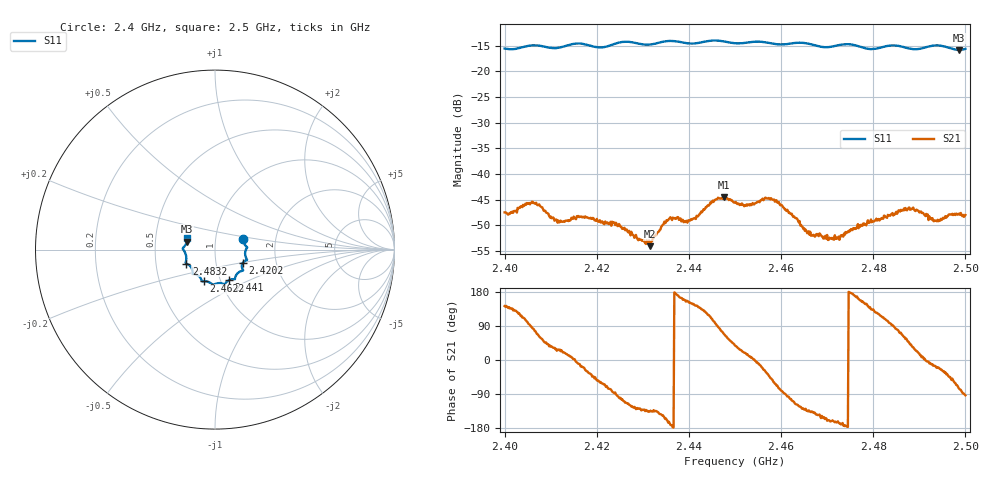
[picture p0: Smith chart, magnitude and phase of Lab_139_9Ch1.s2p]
# Hz S RI R
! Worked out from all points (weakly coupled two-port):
!   601 points, 2.4 GHz to 2.5 GHz, reference 50 ohm
!   highest |S21| = -44.56 dB at 2.4477 GHz (marker M1); lowest = -54.1 dB at 2.4315 GHz (marker M2)
!   lowest |S11| = -15.8 dB at 2.4987 GHz (marker M3), VSWR 1.39, Z = 36.4 + j3.36 ohm
!   |S11| at or under -10 dB: start of sweep to end of sweep
!   S12 and S22 are empty: the file has one direction only
!   S11 on the Smith chart (normalised r, x): 2.4 GHz: 1.36, +0.17; 2.4202 GHz: 1.35, -0.20; 2.441 GHz: 1.09, -0.39; 2.4622 GHz: 0.83, -0.30; 2.4832 GHz: 0.72, -0.12; 2.5 GHz: 0.73, +0.09
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2.4e9  0.1562 0.0599  -0.00334 0.00258  0 0  0 0
2.406333e9  0.1795 0.0131  0.000787 0.00517  0 0  0 0
2.411333e9  0.1677 -0.023  0.00325 0.00148  0 0  0 0
2.416667e9  0.1773 -0.0583  0.00369 -0.00106  0 0  0 0
2.420167e9  0.1558 -0.0725  0.002 -0.00286  0 0  0 0
2.423833e9  0.1525 -0.1059  0.000141 -0.00335  0 0  0 0
2.4315e9  0.1217 -0.1366  -0.00141 -0.00138  0 0  0 0
2.433333e9  0.1132 -0.1524  -0.00202 -0.00182  0 0  0 0
2.435667e9  0.1109 -0.1644  -0.00349 -0.00106  0 0  0 0
2.441e9  0.0766 -0.1709  -0.00312 0.00194  0 0  0 0
2.447667e9  0.045 -0.1907  0.00225 0.00547  0 0  0 0
2.45e9  0.0263 -0.1866  0.00415 0.00325  0 0  0 0
2.4575e9  -0.0222 -0.188  0.00413 -0.00402  0 0  0 0
2.462167e9  -0.0631 -0.1768  -0.000917 -0.00396  0 0  0 0
2.466667e9  -0.0766 -0.1664  -0.0018 -0.00177  0 0  0 0
2.472333e9  -0.117 -0.1366  -0.00226 -0.000736  0 0  0 0
2.483167e9  -0.1595 -0.0781  -0.000897 0.00389  0 0  0 0
2.483333e9  -0.1605 -0.0777  -0.000645 0.00388  0 0  0 0
2.488167e9  -0.1599 -0.0452  0.00343 0.00299  0 0  0 0
2.4935e9  -0.1795 0.00476  0.00335 -0.000956  0 0  0 0
2.498667e9  -0.156 0.045  0.000974 -0.00398  0 0  0 0
2.5e9  -0.1534 0.063  -0.000232 -0.00398  0 0  0 0
